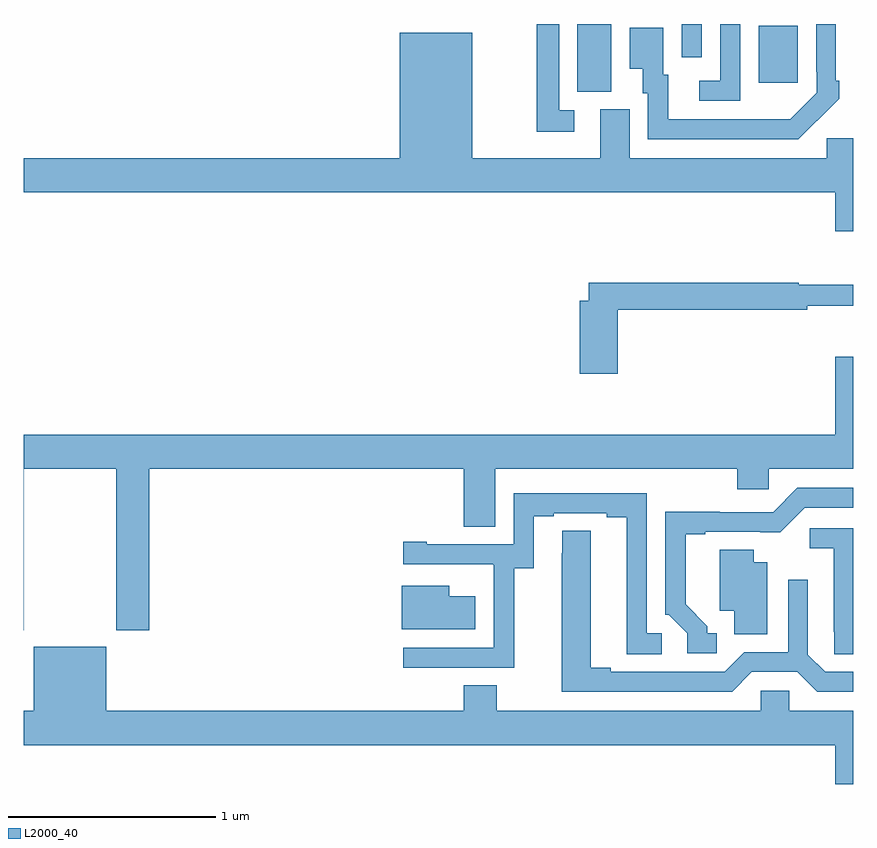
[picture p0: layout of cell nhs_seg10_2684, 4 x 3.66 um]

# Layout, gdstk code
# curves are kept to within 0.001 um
import gdstk
lib = gdstk.Library(unit=1e-6, precision=1e-09)
def R(c, l, rs):  # rectangles x0, y0, x1, y1
    for r in rs: c.add(gdstk.rectangle(r[:2], r[2:], *l))
def P(c, l, *ps):  # polygons
    for p in ps: c.add(gdstk.Polygon(p, *l))
L2000_40 = (2000, 40)

nhs_seg10_2684 = lib.new_cell('nhs_seg10_2684')
R(nhs_seg10_2684, L2000_40, [(259.67,1262.173,259.834,1262.5), (260.543,1262.217,260.731,1262.491), (260.172,1262.34,260.268,1262.5)])
P(nhs_seg10_2684, L2000_40, [(260.825,1262.035),(260.826,1262.034),(260.931,1262.139),(260.931,1262.227),(260.916,1262.227),(260.916,1262.5),(260.82,1262.5),(260.82,1262.269),(260.823,1262.269),(260.823,1262.169),(260.695,1262.041),(260.107,1262.04),(260.107,1262.256),(260.083,1262.256),(260.083,1262.482),(259.922,1262.482),(259.922,1262.285),(259.985,1262.285),(259.985,1262.166),(260.01,1262.166),(260.01,1261.944),(260.734,1261.944)],
  [(259.654,1262.085),(259.581,1262.085),(259.581,1262.5),(259.473,1262.5),(259.473,1261.98),(259.654,1261.98)],
  [(260.454,1262.5),(260.358,1262.5),(260.358,1262.226),(260.256,1262.226),(260.256,1262.13),(260.454,1262.13)],
  [(261,1261.95),(260.871,1261.95),(260.871,1261.852),(259.921,1261.852),(259.921,1262.088),(259.781,1262.088),(259.781,1261.852),(259.162,1261.852),(259.162,1262.458),(258.812,1262.458),(258.812,1261.852),(257,1261.852),(257,1261.688),(260.912,1261.688),(260.912,1261.5),(261,1261.5)],
  [(259.865,1261.123),(260.777,1261.123),(260.777,1261.141),(261,1261.141),(261,1261.244),(260.737,1261.244),(260.737,1261.252),(259.724,1261.252),(259.724,1261.165),(259.682,1261.165),(259.682,1260.813),(259.865,1260.813)],
  [(257.001,1260.356),(257.446,1260.356),(257.446,1259.577),(257.606,1259.577),(257.606,1260.356),(259.121,1260.356),(259.121,1260.076),(259.273,1260.076),(259.273,1260.356),(260.441,1260.356),(260.441,1260.258),(260.592,1260.258),(260.592,1260.356),(261,1260.356),(261,1260.895),(260.912,1260.895),(260.912,1260.52),(257,1260.52),(257,1259.577),(257.001,1259.577)],
  [(260.341,1259.562),(260.296,1259.562),(260.296,1259.597),(260.191,1259.702),(260.191,1260.039),(260.287,1260.039),(260.287,1260.051),(260.648,1260.05),(260.766,1260.168),(261,1260.168),(261,1260.264),(260.73,1260.264),(260.613,1260.147),(260.357,1260.147),(260.357,1260.149),(260.094,1260.149),(260.094,1259.652),(260.109,1259.652),(260.199,1259.562),(260.199,1259.466),(260.341,1259.466)],
  [(259.365,1259.875),(259.459,1259.875),(259.459,1260.126),(259.555,1260.126),(259.555,1260.141),(259.811,1260.141),(259.811,1260.121),(259.907,1260.121),(259.907,1259.461),(260.077,1259.461),(260.077,1259.562),(260.004,1259.562),(260.004,1260.237),(259.362,1260.237),(259.362,1259.991),(258.943,1259.991),(258.943,1260.004),(258.831,1260.004),(258.831,1259.895),(259.265,1259.895),(259.265,1259.894),(259.266,1259.894),(259.266,1259.493),(258.831,1259.493),(258.831,1259.397),(259.365,1259.397)],
  [(261,1260.069),(260.79,1260.069),(260.79,1259.972),(260.906,1259.972),(260.906,1259.569),(260.907,1259.569),(260.907,1259.461),(261,1259.461)],
  [(260.511,1259.376),(260.729,1259.376),(260.825,1259.28),(261,1259.28),(261,1259.376),(260.865,1259.376),(260.781,1259.46),(260.781,1259.821),(260.685,1259.821),(260.685,1259.472),(260.475,1259.472),(260.379,1259.376),(259.831,1259.376),(259.831,1259.396),(259.735,1259.396),(259.735,1260.056),(259.596,1260.056),(259.595,1259.28),(260.415,1259.28)],
  [(260.584,1259.905),(260.521,1259.905),(260.521,1259.966),(260.357,1259.966),(260.357,1259.672),(260.426,1259.672),(260.426,1259.557),(260.584,1259.557)],
  [(259.177,1259.74),(259.051,1259.74),(259.051,1259.791),(258.824,1259.791),(258.824,1259.582),(259.177,1259.582)],
  [(261,1259.188),(260.691,1259.188),(260.691,1259.286),(260.553,1259.286),(260.553,1259.188),(259.281,1259.188),(259.281,1259.312),(259.121,1259.312),(259.121,1259.188),(257.398,1259.188),(257.398,1259.497),(257.048,1259.497),(257.048,1259.188),(257,1259.188),(257,1259.024),(260.912,1259.024),(260.912,1258.836),(261,1258.836)])

lib.write_gds('nhs_seg10_2684.gds')
